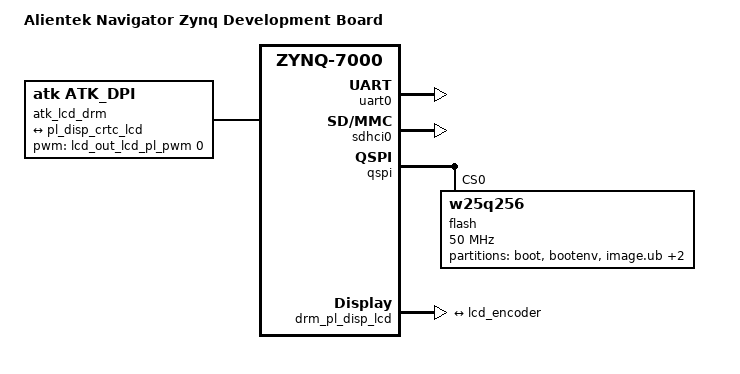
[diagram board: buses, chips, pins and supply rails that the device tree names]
#include <dt-bindings/gpio/gpio.h>
#include <dt-bindings/input/input.h>
#include <dt-bindings/media/xilinx-vip.h>
#include <dt-bindings/phy/phy.h>

/ {
	model = "Alientek Navigator Zynq Development Board";
	compatible = "xlnx,zynq-zc702", "xlnx,zynq-7000";

	//此处添加chosen节点方便用于直接拷贝system-user.dtsi用于petalinux工程
	chosen {
		bootargs = "console=ttyPS0,115200 cma=50M earlycon root=/dev/mmcblk0p2 rw rootwait";
		stdout-path = "serial0:115200n8";
	};

};

&uart0 {
	u-boot,dm-pre-reloc;
	status = "okay";
};

&sdhci0 {
	u-boot,dm-pre-reloc;
	status = "okay";
};

&qspi {
	u-boot,dm-pre-reloc;
	flash@0 { /* 16 MB */
		compatible = "w25q256", "jedec,spi-nor";
		reg = <0x0>;
		spi-max-frequency = <50000000>;
		#address-cells = <1>;
		#size-cells = <1>;
		partition@0x000000 {
			label = "boot";
			reg = <0x000000 0x600000>;
		};
		partition@0x600000 {
			label = "bootenv";
			reg = <0x600000 0x020000>;
		};
		partition@0x620000 {
			label = "image.ub";
			reg = <0x620000 0x700000>;
		};
		partition@0xD20000 {
			label = "boot.scr";
			reg = <0xD20000 0x020000>;
		};
		partition@0xD40000 {
			label = "space";
			reg = <0xD40000 0x000000>;
		};
	};
};

&clk_wiz_0 {
    compatible = "xlnx,clocking-wizard";
    xlnx,nr-outputs = <2>;
};

&lcd_out_lcd_pl_pwm{
	compatible = "digilent,axi-pwm";
	#pwm-cells = <2>;
	clock-names = "pwm";
	npwm = <1>;
};

&lcd_out_lcd_vtc {
	compatible = "xlnx,bridge-v-tc-6.1";
	xlnx,pixels-per-clock = <1>;
};

&amba_pl {
	drm_pl_disp_lcd {
		compatible = "xlnx,pl-disp";
		dmas = <&lcd_out_v_frmbuf_rd_0 0>;
		dma-names = "dma0";
		xlnx,vformat = "BG24";
		xlnx,bridge = <&lcd_out_lcd_vtc>;

		ports {
			#address-cells = <1>;
			#size-cells = <0>;
			port@0 {
				reg = <0>;
				pl_disp_crtc_lcd:endpoint {
					remote-endpoint = <&lcd_encoder>;
				};
			};
		};
	};

	atk_lcd_drm{
		compatible = "atk,atk_dpi";
		status = "okay";

		clocks = <&clk_wiz_0 0>;
		clock-names = "lcd_pclk";
		pwms = <&lcd_out_lcd_pl_pwm 0 5000000>;

		lcdID = <&lcd_out_lcd_id 0 0 GPIO_ACTIVE_LOW
				 &lcd_out_lcd_id 1 0 GPIO_ACTIVE_LOW
				 &lcd_out_lcd_id 2 0 GPIO_ACTIVE_LOW>;

		ports {
			#address-cells = <1>;
			#size-cells = <0>;
			port@0 {
				reg = <0>;
				lcd_encoder: endpoint {
					remote-endpoint = <&pl_disp_crtc_lcd>;
				};
			};
		};

		display-timings {					/* 时序信息 */
			timing_4342: timing0 {
				clock-frequency = <9000000>; /* LCD 像素时钟，单位 Hz */
				hactive = <480>;			/* LCD X 轴像素个数 */
				vactive = <272>;			/* LCD Y 轴像素个数 */
				hback-porch = <2>;			/* LCD hfp 参数 */
				hfront-porch = <2>;			/* LCD hbp 参数 */
				hsync-len = <41>;			/* LCD hspw 参数 */
				vback-porch = <2>;			/* LCD vbp 参数 */
				vfront-porch = <2>;			/* LCD vfp 参数 */
				vsync-len = <10>;			/* LCD vspw 参数 */
				hsync-active = <0>;			/* hsync 数据线极性 */
				vsync-active = <0>;			/* vsync 数据线极性 */
				de-active = <1>;			/* de 数据线极性 */
			};
			timing_7084: timing1 {
				clock-frequency = <33330000>;
				hactive = <800>;
				vactive = <480>;
				hback-porch = <88>;
				hfront-porch = <40>;
				hsync-len = <128>;
				vback-porch = <33>;
				vfront-porch = <10>;
				vsync-len = <2>;
				hsync-active = <0>;
				vsync-active = <0>;
				de-active = <1>;
				pixelclk-active = <0>;
			};
			timing_7016: timing2 {
				clock-frequency = <51200000>;
				hactive = <1024>;
				vactive = <600>;
				hback-porch = <140>;
				hfront-porch = <160>;
				hsync-len = <20>;
				vback-porch = <20>;
				vfront-porch = <12>;
				vsync-len = <3>;
				hsync-active = <0>;
				vsync-active = <0>;
				de-active = <1>;
				pixelclk-active = <0>;
			};
			timing_1018: timing3 {
				clock-frequency = <71100000>;
				hactive = <1280>;
				vactive = <800>;
				hback-porch = <80>;
				hfront-porch = <70>;
				hsync-len = <10>;
				vback-porch = <10>;
				vfront-porch = <10>;
				vsync-len = <3>;
				hsync-active = <0>;
				vsync-active = <0>;
				de-active = <1>;
				pixelclk-active = <0>;
			};
		};
	};

};
